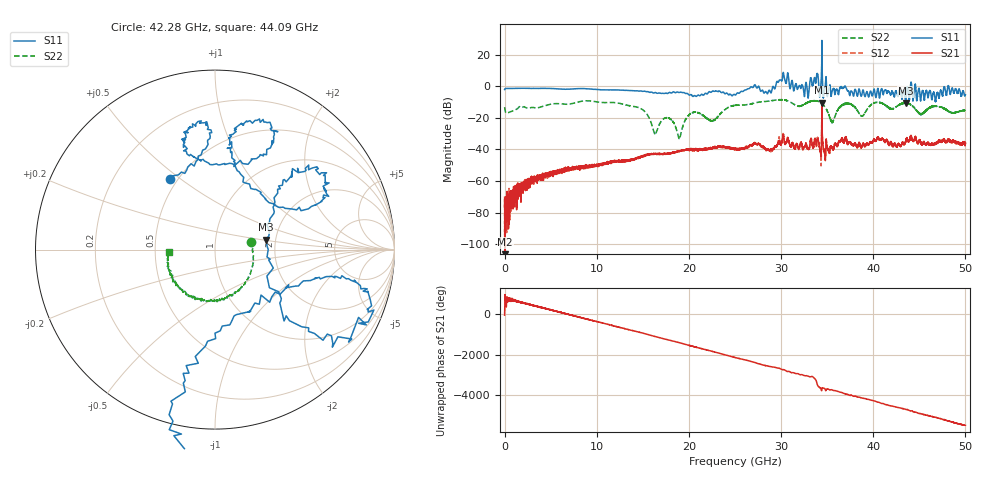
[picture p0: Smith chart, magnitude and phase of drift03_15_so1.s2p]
!Created with skrf (http://scikit-rf.org).
# Hz S RI R 50.0
!freq ReS11 ImS11 ReS21 ImS21 ReS12 ImS12 ReS22 ImS22
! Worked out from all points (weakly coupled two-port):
!   10000 points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, 5.3 MHz to 50 GHz, reference 50 ohm
!   highest |S21| = -10.46 dB at 34.43 GHz (marker M1); lowest = -106.6 dB at 60.3 MHz (marker M2)
!   lowest |S11| = -10.7 dB at 43.52 GHz (marker M3), VSWR 1.82, Z = 89 + j10.9 ohm
!   |S11| at or under -10 dB: 43.50668 GHz to 43.54173 GHz (35.05 MHz wide, 0.0805 % of centre)
!   |S22| runs from -33.2 to -8.5 dB; largest |S21 - S12| = 0.089
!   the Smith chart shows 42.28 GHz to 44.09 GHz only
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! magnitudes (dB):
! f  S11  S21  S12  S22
! 5.3 MHz  -2.1  -71.8  -69.7  -13.3
! 60.3 MHz  -1.6  -106.6  -76.2  -15.3
! 3.11 GHz  -1.4  -59.5  -57.8  -13.4
! 8.34 GHz  -1.5  -51.1  -51.2  -9.5
! 14.52 GHz  -3.1  -45.7  -45.2  -13.5
! 16.67 GHz  -4.4  -43.0  -42.9  -25.8
! 17.82 GHz  -4.1  -42.5  -42.5  -20.1
! 18.96 GHz  -4.0  -40.9  -41.1  -33.2
! 20.27 GHz  -5.5  -40.4  -39.7  -17.0
! 22.58 GHz  -3.1  -39.0  -39.2  -21.8
! 25.01 GHz  -5.5  -39.9  -39.7  -12.2
! 28.72 GHz  -2.5  -40.8  -40.3  -9.4
! 30.14 GHz  4.4  -33.7  -34.0  -8.5
! 32.74 GHz  2.0  -36.9  -36.6  -10.8
! 33.34 GHz  2.5  -34.9  -35.1  -9.4
! 34.43 GHz  28.9  -10.5  -12.5  -10.9
! 35.54 GHz  -3.1  -39.1  -39.0  -23.1
! 36.96 GHz  0.0  -33.3  -33.3  -11.3
! 38.75 GHz  -5.9  -38.3  -38.3  -18.9
! 41.67 GHz  -3.2  -36.5  -37.0  -13.5
! 43.52 GHz  -10.7  -35.1  -35.3  -10.8
! 50 GHz  -5.4  -35.8  -36.1  -15.4
